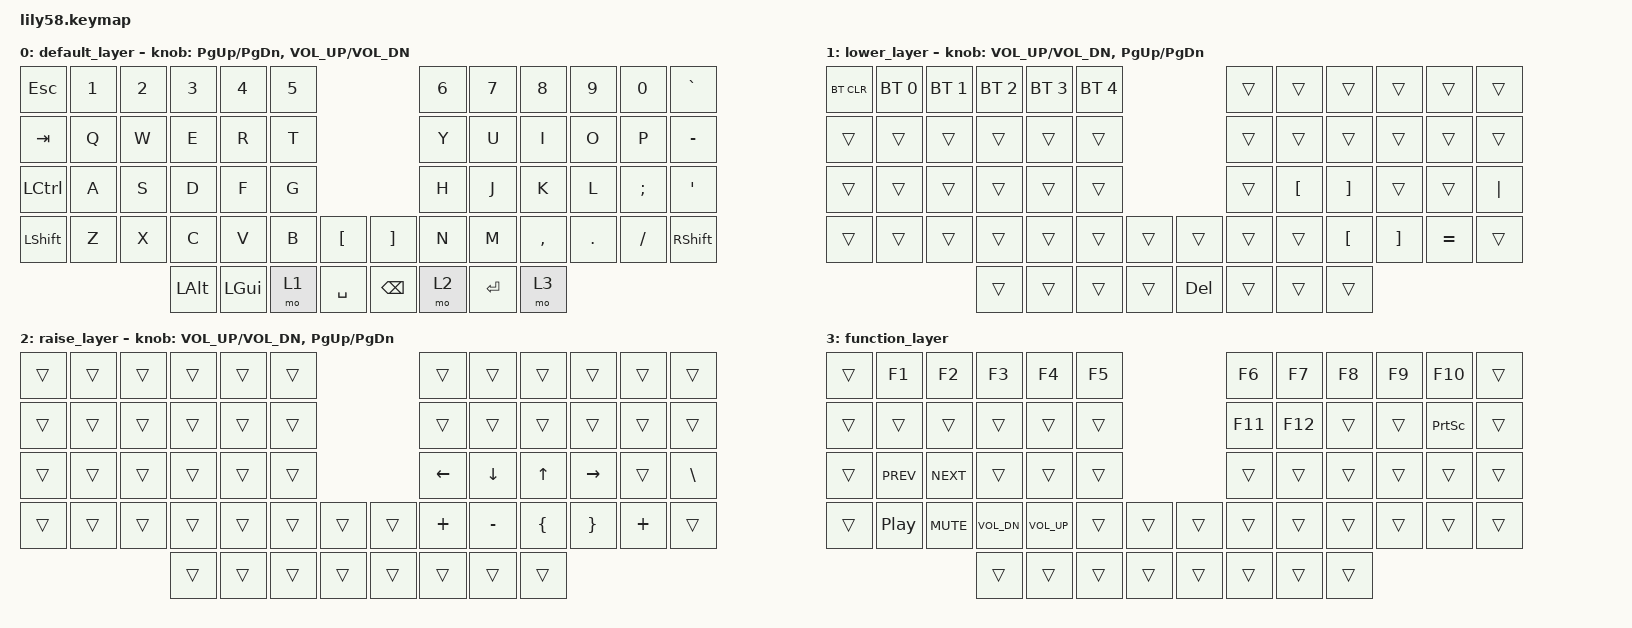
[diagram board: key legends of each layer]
/*
 * Copyright (c) 2020 The ZMK Contributors
 *
 * SPDX-License-Identifier: MIT
 */

#include <behaviors.dtsi>
#include <dt-bindings/zmk/keys.h>
#include <dt-bindings/zmk/bt.h>
#include <dt-bindings/zmk/ext_power.h>

/ {

    keymap {
        compatible = "zmk,keymap";

        default_layer {
// ------------------------------------------------------------------------------------------------------------
// |  ESC  |  1  |  2  |  3   |  4   |  5   |                   |  6   |  7    |  8    |  9   |   0   |   `   |
// |  TAB  |  Q  |  W  |  E   |  R   |  T   |                   |  Y   |  U    |  I    |  O   |   P   |   -   |
// |  CTRL |  A  |  S  |  D   |  F   |  G   |                   |  H   |  J    |  K    |  L   |   ;   |   '   |
// | SHIFT |  Z  |  X  |  C   |  V   |  B   |   [   |   |   ]   |  N   |  M    |  ,    |  .   |   /   | SHIFT |
//                     | ALT  | GUI  | LOWER|  SPACE |   | BSPC  | RAISE| ENTER |  FN   |
            bindings = <
&kp ESC   &kp N1 &kp N2 &kp N3   &kp N4   &kp N5                     &kp N6 &kp N7   &kp N8    &kp N9  &kp N0   &kp GRAVE
&kp TAB   &kp Q  &kp W  &kp E    &kp R    &kp T                      &kp Y  &kp U    &kp I     &kp O   &kp P    &kp MINUS
&kp LCTRL &kp A  &kp S  &kp D    &kp F    &kp G                      &kp H  &kp J    &kp K     &kp L   &kp SEMI &kp SQT
&kp LSHFT &kp Z  &kp X  &kp C    &kp V    &kp B  &kp LBKT   &kp RBKT &kp N  &kp M    &kp COMMA &kp DOT &kp FSLH &kp RSHFT
                        &kp LALT &kp LGUI &mo 1  &kp SPACE  &kp BSPC &mo 2  &kp RET  &mo 3
            >;

            /* ENCODERS: Left = PgUp/Dn (Logs), Right = Undo/Redo (Code) */
            sensor-bindings = <&inc_dec_kp PG_UP PG_DN &inc_dec_kp C_VOL_UP C_VOL_DN>;
        };

        lower_layer {
// ------------------------------------------------------------------------------------------------------------
// | BTCLR | BT1 | BT2 |  BT3 |  BT4 |  BT5 |                   |      |       |       |      |       |       |
// |       |     |     |      |      |      |                   |      |       |       |      |       |       |
// |       |     |     |      |      |      |                   |      |   [   |   ]   |      |       |   |   |
// |       |     |     |      |      |      |       |   |       |      |       |   [   |   ]  |   =   |       |
//                     |      |      |      |       |   |  DEL  |      |       |       |
            bindings = <
&bt BT_CLR &bt BT_SEL 0 &bt BT_SEL 1 &bt BT_SEL 2 &bt BT_SEL 3 &bt BT_SEL 4                 &trans    &trans    &trans    &trans    &trans    &trans
&trans     &trans       &trans       &trans       &trans       &trans                       &trans    &trans    &trans    &trans    &trans    &trans
&trans     &trans       &trans       &trans       &trans       &trans                       &trans    &kp LBKT  &kp RBKT  &trans    &trans    &kp PIPE
&trans     &trans       &trans       &trans       &trans       &trans    &trans   &trans    &trans    &trans    &kp LBKT  &kp RBKT  &kp EQUAL &trans
                                     &trans       &trans       &trans    &trans   &kp DEL   &trans    &trans    &trans
            >;
            
            /* ENCODERS: Standard Volume & Page Scroll on this layer */
            sensor-bindings = <&inc_dec_kp C_VOL_UP C_VOL_DN &inc_dec_kp PG_UP PG_DN>;
        };

        raise_layer {
// ------------------------------------------------------------------------------------------------------------
// |       |     |     |      |      |      |                   |      |       |       |      |       |       |
// |       |     |     |      |      |      |                   |      |       |       |      |       |       |
// |       |     |     |      |      |      |                   |  <-  |   v   |   ^   |  ->  |       |   \   |
// |       |     |     |      |      |      |       |   |       |  +   |   -   |   {   |   }  |   +   |       |
//                     |      |      |      |       |   |       |      |       |       |
            bindings = <
&trans     &trans &trans &trans &trans &trans                       &trans    &trans    &trans    &trans    &trans    &trans
&trans     &trans &trans &trans &trans &trans                       &trans    &trans    &trans    &trans    &trans    &trans
&trans     &trans &trans &trans &trans &trans                       &kp LEFT  &kp DOWN  &kp UP    &kp RIGHT &trans    &kp BSLH
&trans     &trans &trans &trans &trans &trans    &trans   &trans    &kp PLUS  &kp MINUS &kp LBRC  &kp RBRC  &kp PLUS  &trans
                         &trans &trans &trans    &trans   &trans    &trans    &trans    &trans
            >;

            /* ENCODERS: Standard Volume & Page Scroll on this layer */
            sensor-bindings = <&inc_dec_kp C_VOL_UP C_VOL_DN &inc_dec_kp PG_UP PG_DN>;
        };

        function_layer {
// ------------------------------------------------------------------------------------------------------------
// |       |  F1 |  F2 |  F3  |  F4  |  F5  |                   |  F6  |  F7   |  F8   |  F9  |  F10  |       |
// |       |     |     |      |      |      |                   |  F11 |  F12  |       |      | PSCRN |       |
// |       | PREV| NEXT|      |      |      |                   |      |       |       |      |       |       |
// |       | PLAY| MUTE| VOL- | VOL+ |      |       |   |       |      |       |       |      |       |       |
//                     |      |      |      |       |   |       |      |       |       |
            bindings = <
&trans &kp F1     &kp F2     &kp F3       &kp F4       &kp F5                     &kp F6   &kp F7   &kp F8   &kp F9   &kp F10   &trans
&trans &trans     &trans     &trans       &trans       &trans                     &kp F11  &kp F12  &trans   &trans   &kp PSCRN &trans
&trans &kp C_PREV &kp C_NEXT &trans       &trans       &trans                     &trans   &trans   &trans   &trans   &trans    &trans
&trans &kp C_PP   &kp C_MUTE &kp C_VOL_DN &kp C_VOL_UP &trans   &trans   &trans   &trans   &trans   &trans   &trans   &trans    &trans
                             &trans       &trans       &trans   &trans   &trans   &trans   &trans   &trans
            >;
        };
    };
};

